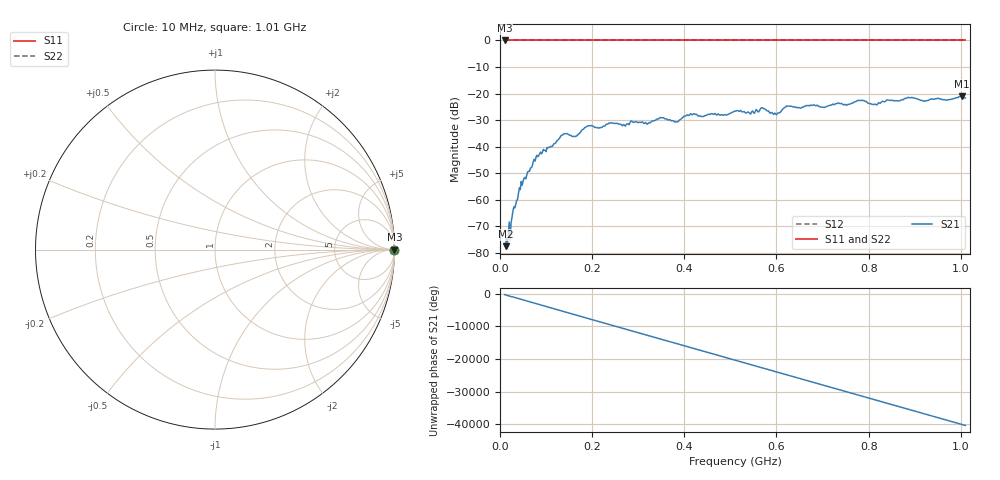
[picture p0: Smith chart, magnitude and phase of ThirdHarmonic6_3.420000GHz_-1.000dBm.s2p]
! 8/17/2025 10:58:25 AM
! C:\ANRITSUVNA\TEMP\TEMP.S2P
! CHANNEL.1
! TR.MEASUREMENT
! RAW.DATA
! RF.CORRECTION.OFF
! AVERAGING.OFF
! IF.BANDWIDTH: 5KHZ
! SWEEPTYPE:  FREQ.SWEEP(Linear)
! Reference Plane Port Info
! PORT:  PORT1  PORT2
! DISTANCE:  0  m  0  m
! TIME:  0  s  0  s
! PHASE.OFFSET:  0  deg.  0  deg.
! LOSS:  0  dB  0  dB
! REF.LOSS:  0  dB  0  dB
! REF.FREQ:  0  Hz  0  Hz
! Power Info
! POWER:  -20  dBm  -20  dBm
! EFF.POWER:  -20  dBm  -20  dBm
! SOURCE.ATTEN:  0  dB  0  dB
! TEST.ATTEN:  0  dB  0  dB
# GHZ S RI R 50.0
! FREQ.GHZ  S11RE  S11IM  S21RE  S21IM  S12RE  S12IM  S22RE  S22IM
!; PortSelection: Port_12
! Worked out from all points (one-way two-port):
!   501 points, 10 MHz to 1.01 GHz, reference 50 ohm
!   highest |S21| = -21.02 dB at 1.002 GHz (marker M1); lowest = -77.5 dB at 12 MHz (marker M2)
!   lowest |S11| = 0.0 dB at 10 MHz (marker M3)
!   |S11| at or under -10 dB: nowhere
!   |S22| runs from 0.0 to 0.0 dB; largest |S21 - S12| = 1.1
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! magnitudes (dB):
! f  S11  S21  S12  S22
! 10 MHz  0.0  -76.6  0.0  0.0
! 12 MHz  0.0  -77.5  0.0  0.0
! 20 MHz  0.0  -68.4  0.0  0.0
! 28 MHz  0.0  -64.4  0.0  0.0
! 44 MHz  0.0  -56.2  0.0  0.0
! 76 MHz  0.0  -45.5  0.0  0.0
! 136 MHz  0.0  -35.6  0.0  0.0
! 162 MHz  0.0  -36.3  0.0  0.0
! 178 MHz  0.0  -33.7  0.0  0.0
! 194 MHz  0.0  -32.1  0.0  0.0
! 322 MHz  0.0  -31.2  0.0  0.0
! 344 MHz  0.0  -29.6  0.0  0.0
! 382 MHz  0.0  -30.6  0.0  0.0
! 416 MHz  0.0  -28.0  0.0  0.0
! 510 MHz  0.0  -26.6  0.0  0.0
! 570 MHz  0.0  -25.4  0.0  0.0
! 598 MHz  0.0  -27.7  0.0  0.0
! 624 MHz  0.0  -24.8  0.0  0.0
! 678 MHz  0.0  -24.5  0.0  0.0
! 844 MHz  0.0  -22.5  0.0  0.0
! 1.002 GHz  0.0  -21.0  0.0  0.0
! 1.01 GHz  0.0  -21.7  0.0  0.0
